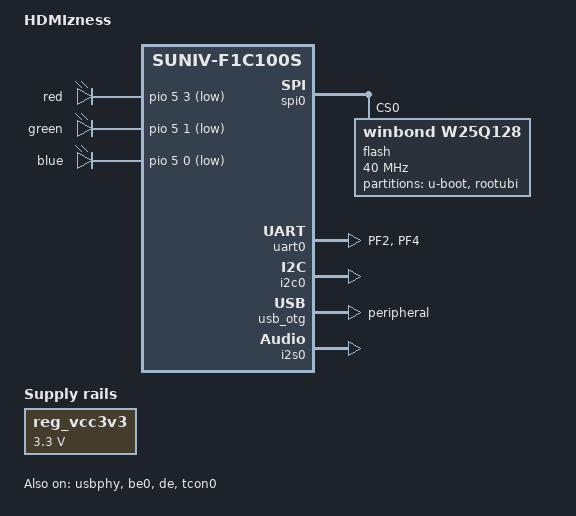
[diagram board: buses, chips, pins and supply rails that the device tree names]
/*
 * Copyright (C) 2020 Tuetuopay <tuetuopay@me.com>
 *
 * SPDX-License-Identifier: (GPL-2.0+ OR X11)
 */

/dts-v1/;
#include "suniv-f1c100s.dtsi"
#include <dt-bindings/gpio/gpio.h>

/ {
	model = "HDMIzness";
	compatible = "tuetuopay,hdmizness", "allwinner,suniv-f1c100s";

	aliases {
		serial0 = &uart0;
		spi0 = &spi0;
	};

	chosen {
		stdout-path = "serial0:115200n8";
	};

	leds {
		compatible = "gpio-leds";
		pinctrl-names = "default";
		pinctrl-0 = <&led_pins>;

		red {
			label = "red";
			gpios = <&pio 5 3 GPIO_ACTIVE_LOW>;
			default-state = "on";
		};

		green {
			label = "green";
			gpios = <&pio 5 1 GPIO_ACTIVE_LOW>;
			default-state = "on";
		};

		blue {
			label = "blue";
			gpios = <&pio 5 0 GPIO_ACTIVE_LOW>;
			default-state = "on";
		};
	};

	reg_vcc3v3: vcc3v3 {
		compatible = "regulator-fixed";
		regulator-name = "vcc3v3";
		regulator-min-microvolt = <3300000>;
		regulator-max-microvolt = <3300000>;
	};
};

&pio {
	uart0_pf_pins: uart0-pf-pins {
		pins = "PF2", "PF4";
		function = "uart0";
	};

	led_pins: led-pins {
		pins = "PF0", "PF1", "PF3";
		function = "gpio_out";
	};
};

&otg_sram {
	status = "okay";
};

&spi0 {
	pinctrl-names = "default";
	pinctrl-0 = <&spi0_pins_a>;
	status = "okay";

	flash@0 {
		#address-cells = <1>;
		#size-cells = <1>;
		compatible = "winbond,w25q128", "jedec,spi-nor";
		reg = <0>;
		spi-max-frequency = <40000000>;

		partitions {
			compatible = "fixed-partitions";
			#address-cells = <1>;
			#size-cells = <1>;

			partition@0 {
				label = "u-boot";
				reg = <0x000000 0x80000>;
			};

			partition@110000 {
				label = "rootubi";
				reg = <0x80000 0xf80000>;
			};
		};
	};
};

&uart0 {
	pinctrl-names = "default";
	pinctrl-0 = <&uart0_pf_pins>;
	status = "okay";
};

&i2c0 {
	status = "okay";
};

&usb_otg {
	dr_mode = "peripheral";
	status = "okay";
};

&usbphy {
	usb0_id_det-gpio = <&pio 4 6 GPIO_ACTIVE_HIGH>; /* PE6 */
	status = "okay";
};

&be0 {
	status = "okay";
};

&de {
	status = "okay";
};

&tcon0 {
	pinctrl-names = "default";
	pinctrl-0 = <&lcd_rgb666_pins>;
	status = "okay";
};

&i2s0 {
	status = "okay";
};

&sound {
	simple-audio-card,name = "HDMIzness";

	/delete-property/ simple-audio-card,routing;

	simple-audio-card,frame-master = <&dai_link_master>;
	simple-audio-card,bitclock-master = <&dai_link_master>;
	simple-audio-card,continuous-clock;

	status = "okay";
};
